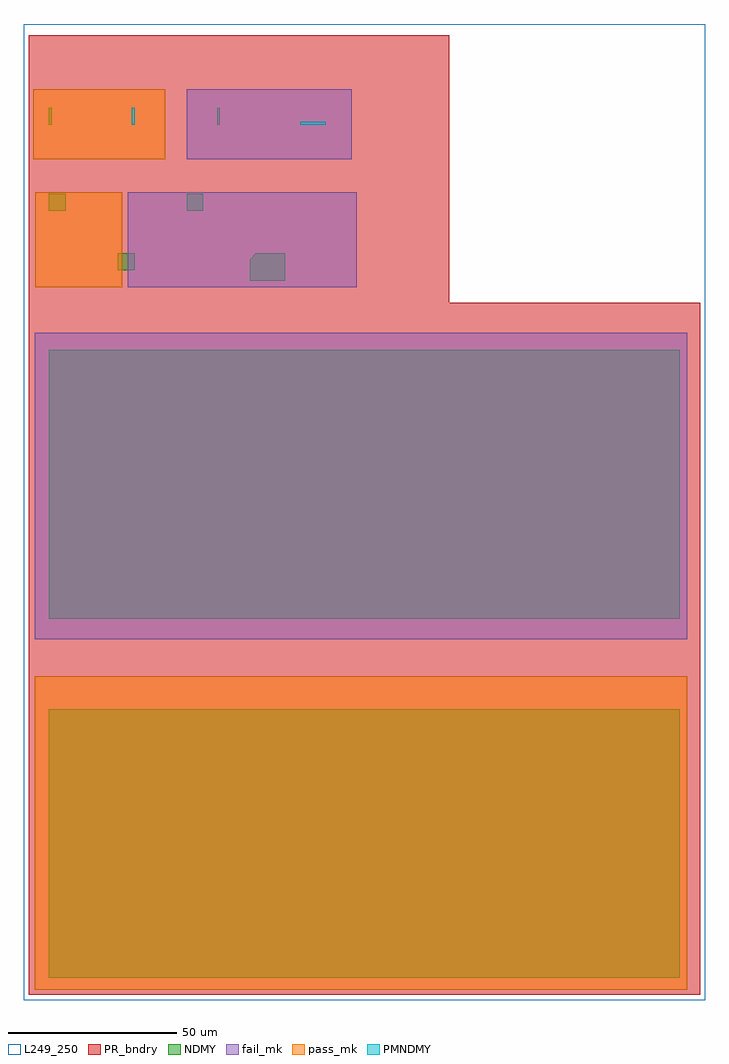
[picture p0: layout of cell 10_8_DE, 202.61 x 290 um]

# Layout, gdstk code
from math import pi, radians
import gdstk
lib = gdstk.Library(unit=1e-6, precision=1e-09)
def R(c, l, rs):  # rectangles x0, y0, x1, y1
    for r in rs: c.add(gdstk.rectangle(r[:2], r[2:], *l))
def P(c, l, *ps):  # polygons
    for p in ps: c.add(gdstk.Polygon(p, *l))
PR_bndry = (0, 0)
pass_mk = (2, 222)
fail_mk = (3, 222)
NDMY = (111, 5)
PMNDMY = (152, 5)
L249_250 = (249, 250)

ndmy_pmndmy = lib.new_cell('NDMY_PMNDMY')
R(ndmy_pmndmy, PR_bndry, [(-199.591,-175.754,0.019,29.99), (-124.981,29.99,0.019,33.88), (-125,33.89,-110.005,63.89), (-110.005,33.89,0,63.89), (-66.38,42.925,-51.63,57.68), (-46.925,44.535,-31.435,57.3), (-125,63.89,0,67.78), (-125,67.78,-110.005,97.78), (-110.005,67.78,0,97.78), (-88.21,82.88,-88.2,83.675), (-56.84,82.88,-56.045,87.875), (-125,97.78,0,101.67), (-125,101.67,0,109.45)])
R(ndmy_pmndmy, pass_mk, [(-195.715,-174.264,-1.856,-81.104), (-27.828,34.586,-1.982,62.764), (-40.542,72.609,-1.303,93.318)])
R(ndmy_pmndmy, fail_mk, [(-195.715,-70.067,-1.856,21.018), (-97.549,34.586,-29.475,62.764), (-96.021,72.609,-47.026,93.318)])
R(ndmy_pmndmy, NDMY, [(-193.51,-170.691,-6.01,-90.856), (-193.51,-64.006,-6.01,15.999), (-31.47,39.605,-26.47,44.605), (-51.92,57.295,-46.92,62.295), (-11.01,57.295,-6.01,62.295), (-56.84,82.88,-56.045,87.875), (-56.84,82.88,-56.045,87.875), (-6.81,82.88,-6.01,87.88)])
P(ndmy_pmndmy, NDMY, [(-76.165,36.515),(-76.165,44.61),(-67.51,44.61),(-65.635,42.735),(-65.635,36.515)])
R(ndmy_pmndmy, PMNDMY, [(-31.45,82.88,-30.65,87.88)])
P(ndmy_pmndmy, PMNDMY, [(-88.205,82.88),(-88.205,83.675),(-88.105,83.775),(-80.685,83.775),(-80.685,82.88)])
ndmy_pmndmy.add(gdstk.Label('DE.3', (-6.07,-173.488), layer=11, texttype=222))
ndmy_pmndmy.add(gdstk.Label('DE.3', (-5.193,-68.462), layer=11, texttype=222))
ndmy_pmndmy.add(gdstk.Label('DE.4', (-32.968,36.758), layer=11, texttype=222))
ndmy_pmndmy.add(gdstk.Label('DE.4', (-6.07,36.758), layer=11, texttype=222))
ndmy_pmndmy.add(gdstk.Label('DE.2', (-6.07,73.739), layer=11, texttype=222))
ndmy_pmndmy.add(gdstk.Label('DE.2', (-54.336,73.739), layer=11, texttype=222))
ndmy_pmndmy.add(gdstk.Label('2 ERRs', (-112.16,84.821), layer=58, texttype=0))
ndmy_pmndmy.add(gdstk.Label('DE.3 (a) Maximum NDMY size (sq um) = 15000', (-1.066,33.141), layer=58, texttype=0))
ndmy_pmndmy.add(gdstk.Label('DE.2 Minimum DNDMY or PMNDMY size (x or y dimension in um) = 0.8', (-1.085,99.651), layer=58, texttype=0))
ndmy_pmndmy.add(gdstk.Label('NDMY and PMNDMY', (-60.795,105.495), layer=58, texttype=0))
ndmy_pmndmy.add(gdstk.Label('DE.4 Minimum NDMY to NDMY space = 20', (-0.645,66.601), layer=58, texttype=0))
ndmy_pmndmy.add(gdstk.Label('DE.3 (b) If size greater than 15000um (sq) then one side cannot be greater than (um) = 80', (-1.066,30.841), layer=58, texttype=0))
ndmy_pmndmy.add(gdstk.Label('2 ERRs', (-112.16,50.171), layer=58, texttype=0))

c_10_8_de = lib.new_cell('10_8_DE')
R(c_10_8_de, L249_250, [(-202.61,0,0,288.204), (-202.61,0,0,290)])
c_10_8_de.add(gdstk.Reference(ndmy_pmndmy, (-201.091,177.254), rotation=pi, x_reflection=True))

lib.write_gds('10_8_DE.gds')
